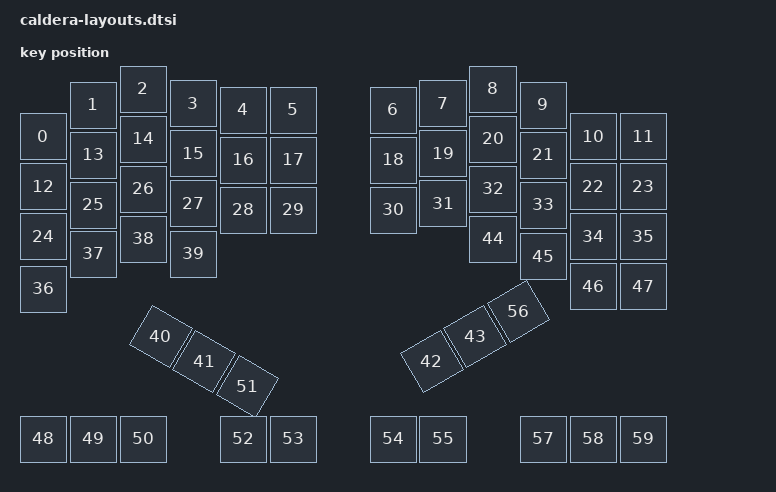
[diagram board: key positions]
#include <physical_layouts.dtsi>

/ {
    physical_layout0: physical_layout_0 {
        compatible = "zmk,physical-layout";
        display-name = "Default";

        kscan = <&kscan0>;
        transform = <&default_transform>;

        keys  //                     w   h    x    y     rot    rx    ry
            = <&key_physical_attrs 100 100    0   95       0     0     0>
            , <&key_physical_attrs 100 100  100   32       0     0     0>
            , <&key_physical_attrs 100 100  200    0       0     0     0>
            , <&key_physical_attrs 100 100  300   29       0     0     0>
            , <&key_physical_attrs 100 100  400   42       0     0     0>
            , <&key_physical_attrs 100 100  500   42       0     0     0>
            , <&key_physical_attrs 100 100  700   42       0     0     0>
            , <&key_physical_attrs 100 100  800   29       0     0     0>
            , <&key_physical_attrs 100 100  900    0       0     0     0>
            , <&key_physical_attrs 100 100 1000   32       0     0     0>
            , <&key_physical_attrs 100 100 1100   95       0     0     0>
            , <&key_physical_attrs 100 100 1200   95       0     0     0>
            , <&key_physical_attrs 100 100    0  195       0     0     0>
            , <&key_physical_attrs 100 100  100  132       0     0     0>
            , <&key_physical_attrs 100 100  200  100       0     0     0>
            , <&key_physical_attrs 100 100  300  129       0     0     0>
            , <&key_physical_attrs 100 100  400  142       0     0     0>
            , <&key_physical_attrs 100 100  500  142       0     0     0>
            , <&key_physical_attrs 100 100  700  142       0     0     0>
            , <&key_physical_attrs 100 100  800  129       0     0     0>
            , <&key_physical_attrs 100 100  900  100       0     0     0>
            , <&key_physical_attrs 100 100 1000  132       0     0     0>
            , <&key_physical_attrs 100 100 1100  195       0     0     0>
            , <&key_physical_attrs 100 100 1200  195       0     0     0>
            , <&key_physical_attrs 100 100    0  295       0     0     0>
            , <&key_physical_attrs 100 100  100  232       0     0     0>
            , <&key_physical_attrs 100 100  200  200       0     0     0>
            , <&key_physical_attrs 100 100  300  229       0     0     0>
            , <&key_physical_attrs 100 100  400  242       0     0     0>
            , <&key_physical_attrs 100 100  500  242       0     0     0>
            , <&key_physical_attrs 100 100  700  242       0     0     0>
            , <&key_physical_attrs 100 100  800  229       0     0     0>
            , <&key_physical_attrs 100 100  900  200       0     0     0>
            , <&key_physical_attrs 100 100 1000  232       0     0     0>
            , <&key_physical_attrs 100 100 1100  295       0     0     0>
            , <&key_physical_attrs 100 100 1200  295       0     0     0>
            , <&key_physical_attrs 100 100    0  400       0     0     0>
            , <&key_physical_attrs 100 100  100  330       0     0     0>
            , <&key_physical_attrs 100 100  200  300       0     0     0>
            , <&key_physical_attrs 100 100  300  330       0     0     0>
            , <&key_physical_attrs 100 100  300  555    3000   430   455>
            , <&key_physical_attrs 100 100  400  555    3000   430   455>
            , <&key_physical_attrs 100 100  700  555 (-3000)   770   455>
            , <&key_physical_attrs 100 100  800  555 (-3000)   770   455>
            , <&key_physical_attrs 100 100  900  300       0     0     0>
            , <&key_physical_attrs 100 100 1000  335       0     0     0>
            , <&key_physical_attrs 100 100 1100  395       0     0     0>
            , <&key_physical_attrs 100 100 1200  395       0     0     0>
            , <&key_physical_attrs 100 100    0  700       0     0     0>
            , <&key_physical_attrs 100 100  100  700       0     0     0>
            , <&key_physical_attrs 100 100  200  700       0     0     0>
            , <&key_physical_attrs 100 100  500  555    3000   430   455>
            , <&key_physical_attrs 100 100  400  700       0     0     0>
            , <&key_physical_attrs 100 100  500  700       0     0     0>
            , <&key_physical_attrs 100 100  700  700       0     0     0>
            , <&key_physical_attrs 100 100  800  700       0     0     0>
            , <&key_physical_attrs 100 100  900  555 (-3000)   770   455>
            , <&key_physical_attrs 100 100 1000  700       0     0     0>
            , <&key_physical_attrs 100 100 1100  700       0     0     0>
            , <&key_physical_attrs 100 100 1200  700       0     0     0>
            ;
    };
};
